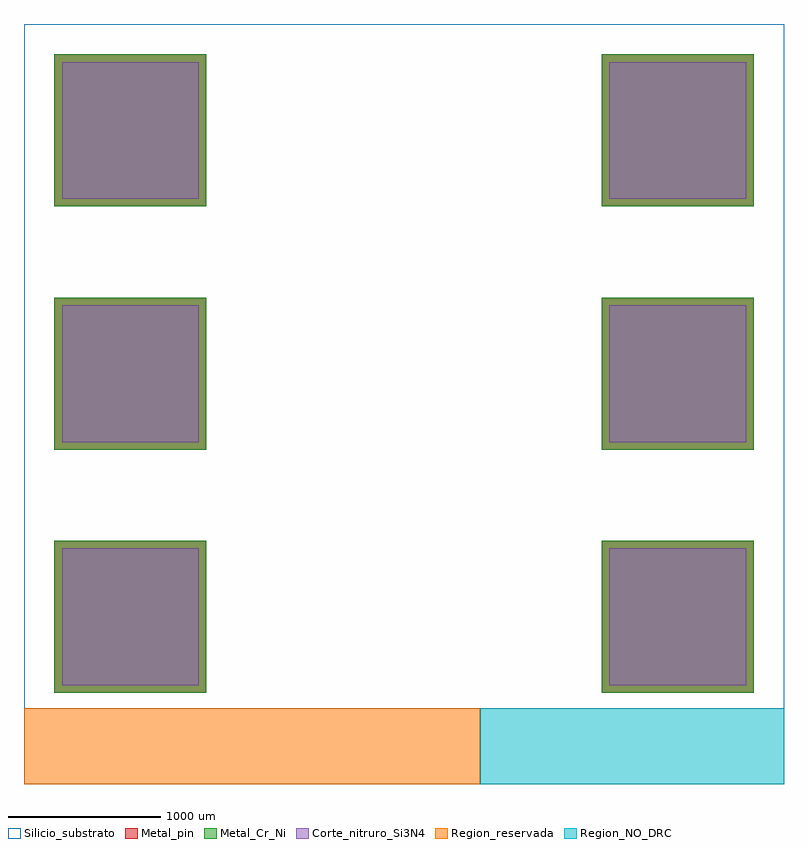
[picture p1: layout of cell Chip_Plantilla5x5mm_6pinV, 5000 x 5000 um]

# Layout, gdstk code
import gdstk
lib = gdstk.Library(unit=1e-6, precision=1e-06)
def R(c, l, rs):  # rectangles x0, y0, x1, y1
    for r in rs: c.add(gdstk.rectangle(r[:2], r[2:], *l))
def A(c, l, x, y, w, h, nx, ny, dx, dy):  # array of equal rectangles
    R(c, l, [(x+i*dx, y+j*dy, x+i*dx+w, y+j*dy+h) for i in range(nx) for j in range(ny)])
Silicio_substrato = (1, 1)
Region_reservada = (1, 2)
Region_NO_DRC = (1, 3)
Metal_Cr_Ni = (2, 0)
Corte_nitruro_Si3N4 = (3, 0)
Metal_pin = (4, 0)

chip_plantilla5x5mm_6pin = lib.new_cell('Chip_Plantilla5x5mm_6pinV')
R(chip_plantilla5x5mm_6pin, Silicio_substrato, [(0,0,5000,5000)])
R(chip_plantilla5x5mm_6pin, Region_reservada, [(0,0,3000,500)])
R(chip_plantilla5x5mm_6pin, Region_NO_DRC, [(3000,0,5000,500)])
A(chip_plantilla5x5mm_6pin, Metal_Cr_Ni, 200, 600, 1000, 1000, 1, 3, 0, 1600)
A(chip_plantilla5x5mm_6pin, Metal_Cr_Ni, 3800, 600, 1000, 1000, 1, 3, 0, 1600)
A(chip_plantilla5x5mm_6pin, Corte_nitruro_Si3N4, 250, 650, 900, 900, 1, 3, 0, 1600)
A(chip_plantilla5x5mm_6pin, Corte_nitruro_Si3N4, 3850, 650, 900, 900, 1, 3, 0, 1600)
A(chip_plantilla5x5mm_6pin, Metal_pin, 200, 600, 1000, 1000, 1, 3, 0, 1600)
A(chip_plantilla5x5mm_6pin, Metal_pin, 3800, 600, 1000, 1000, 1, 3, 0, 1600)

lib.write_gds('Chip_Plantilla5x5mm_6pinV.gds')
